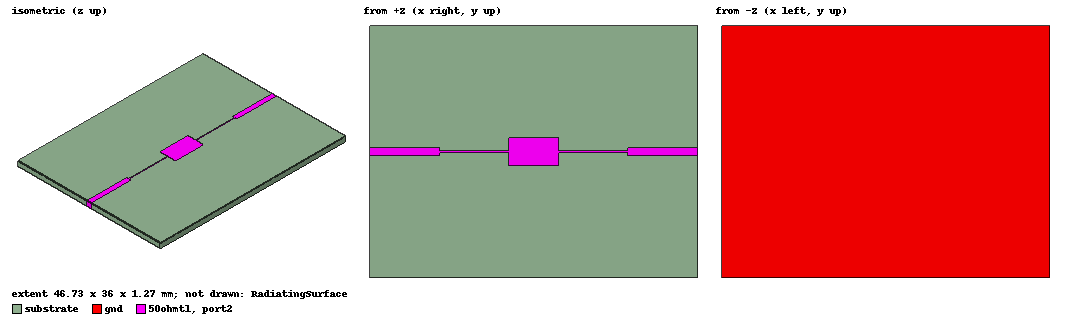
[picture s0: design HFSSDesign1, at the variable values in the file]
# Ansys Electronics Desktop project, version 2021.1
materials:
  vacuum: permittivity=1
  FR4_epoxy: permittivity=4.4 dielectric_loss_tangent=0.02
  Rogers RT/duroid 6010/6010LM (tm): permittivity=10.2 dielectric_loss_tangent=0.0023

design HFSSDesign1 (HFSS, DrivenModal, model units mm)
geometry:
  substrate [Rogers RT/duroid 6010/6010LM (tm)] = box(corner=((-46.73/2) mm, (-36/2) mm, 0mm), size=(46.73mm, 36mm, -1.27mm))
  gnd = rectangle(corner=(23.365mm, -18mm, -1.27mm), x_size=-46.73mm, y_size=36mm)
  50ohmtl = rectangle(corner=(23.365mm, (-1.1/2) mm, 0mm), x_size=-10mm, y_size=1.1mm)
  50ohmtl1 = rectangle(corner=(-23.365mm, (-1.1/2) mm, 0mm), x_size=10mm, y_size=1.1mm)
  l1 = rectangle(corner=(13.365mm, (-0.2/2) mm, 0mm), x_size=-9.81mm, y_size=0.2mm)
  l2 = rectangle(corner=(-13.365mm, (-0.2/2) mm, 0mm), x_size=9.81mm, y_size=0.2mm)
  c = rectangle(corner=((7.11/2) mm, -2mm, 0mm), x_size=-7.11mm, y_size=4mm)
  50ohmtl.unite(50ohmtl1, l1, l2, c)
  port = rectangle(corner=(-23.365mm, 0.55mm, 0mm), y_size=-1.1mm, z_size=-1.27mm)
  port2 = rectangle(corner=(23.365mm, -0.55mm, 0mm), y_size=1.1mm, z_size=-1.27mm)
  RadiatingSurface [vacuum] = region(absolute_offset=16.666667mm on all sides)
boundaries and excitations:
  PerfE1: Perfect E Objects=gnd
  PerfE2: Perfect E Objects=50ohmtl
  Open1: Radiation Objects=RadiatingSurface
  1: Lumped Port Objects=port2 Modes{Mode1{IntLine{middle of port2.edge(z opposite corner) -> middle of port2.edge(z at corner)} CharImp=Zpi RenormImp=50ohm}} Impedance=50ohm
  2: Lumped Port Objects=port Modes{Mode1{IntLine{middle of port.edge(z opposite corner) -> middle of port.edge(z at corner)} CharImp=Zpi RenormImp=50ohm}} Impedance=50ohm
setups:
  Setup1: HfssDrivenAuto AutoSolverSetting=Balanced SaveRadFieldsOnly Type=Interpolating
    sweep Sweep: 1GHz to 6GHz, 101 points;
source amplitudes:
  1:1: 1W 0deg
  2:1: 0W 0deg
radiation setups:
  3D: Infinite Sphere Theta=0deg..180deg step 2deg Phi=-180deg..180deg step 2deg
  Elevation: Infinite Sphere Theta=-180deg..180deg step 1deg Phi=0deg..90deg step 90deg
  Azimuth: Infinite Sphere Theta=90deg..90deg step 0deg Phi=-180deg..180deg step 1deg
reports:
  S Parameter Plot 1: dB(S(1,1)), dB(S(2,1)), dB(S(1,2)), dB(S(2,2)) vs Freq on Setup1 : Sweep; markers m3 at 1.65GHz, m4 at 4.6128687GHz
  VSWR Plot 1: VSWR(1), VSWR(2) vs Freq on Setup1 : Sweep; markers m1 at 3.3GHz
  Gain Plot 1: GainTotal vs Phi, Theta on Setup1 : LastAdaptive, 3D [Freq=3.5GHz]
